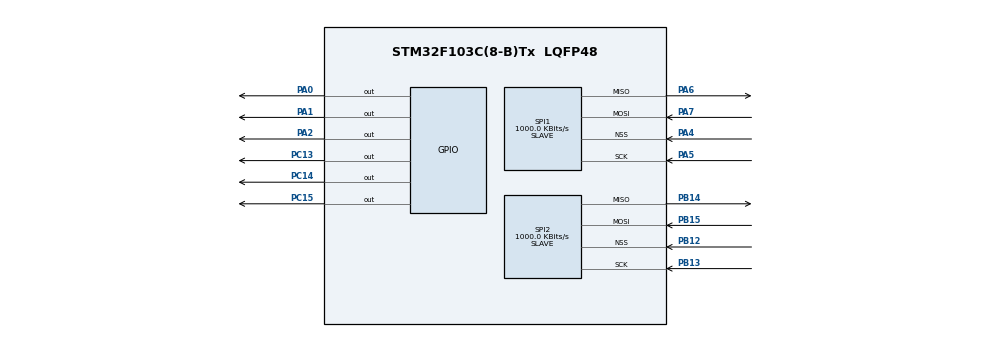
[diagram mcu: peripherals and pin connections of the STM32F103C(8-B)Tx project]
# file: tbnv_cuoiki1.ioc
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Mcu.Family=STM32F1
Mcu.Name=STM32F103C(8-B)Tx
Mcu.Package=LQFP48
NVIC.PriorityGroup=NVIC_PRIORITYGROUP_4
NVIC.SPI1_IRQn=true\:0\:0\:false\:false\:true\:true\:true
NVIC.SPI2_IRQn=true\:0\:0\:false\:false\:true\:true\:true
PA0-WKUP.Signal=GPIO_Output
PA1.Signal=GPIO_Output
PA13.Mode=Serial_Wire
PA13.Signal=SYS_JTMS-SWDIO
PA14.Mode=Serial_Wire
PA14.Signal=SYS_JTCK-SWCLK
PA2.Signal=GPIO_Output
PA4.Mode=NSS_Signal_Hard_Input
PA4.Signal=SPI1_NSS
PA5.Mode=Full_Duplex_Slave
PA5.Signal=SPI1_SCK
PA6.Mode=Full_Duplex_Slave
PA6.Signal=SPI1_MISO
PA7.Mode=Full_Duplex_Slave
PA7.Signal=SPI1_MOSI
PB12.Mode=NSS_Signal_Hard_Input
PB12.Signal=SPI2_NSS
PB13.Mode=Full_Duplex_Slave
PB13.Signal=SPI2_SCK
PB14.Mode=Full_Duplex_Slave
PB14.Signal=SPI2_MISO
PB15.Mode=Full_Duplex_Slave
PB15.Signal=SPI2_MOSI
PC13-TAMPER-RTC.Signal=GPIO_Output
PC14-OSC32_IN.Signal=GPIO_Output
PC15-OSC32_OUT.Signal=GPIO_Output
PD0-OSC_IN.Mode=HSE-External-Oscillator
PD0-OSC_IN.Signal=RCC_OSC_IN
PD1-OSC_OUT.Mode=HSE-External-Oscillator
PD1-OSC_OUT.Signal=RCC_OSC_OUT
ProjectManager.HeapSize=0x200
ProjectManager.StackSize=0x400
ProjectManager.TargetToolchain=MDK-ARM V5
RCC.APB1Freq_Value=8000000
RCC.APB2Freq_Value=8000000
SPI1.BaudRatePrescaler=SPI_BAUDRATEPRESCALER_8
SPI1.CalculateBaudRate=1000.0 KBits/s
SPI1.Direction=SPI_DIRECTION_2LINES
SPI1.Mode=SPI_MODE_SLAVE
SPI1.VirtualNSS=VM_NSSHARD
SPI1.VirtualType=VM_SLAVE
SPI2.BaudRatePrescaler=SPI_BAUDRATEPRESCALER_8
SPI2.CalculateBaudRate=1000.0 KBits/s
SPI2.Direction=SPI_DIRECTION_2LINES
SPI2.Mode=SPI_MODE_SLAVE
SPI2.VirtualNSS=VM_NSSHARD
SPI2.VirtualType=VM_SLAVE
TIM1.Period=499
TIM1.Prescaler=8000
VP_TIM1_VS_ClockSourceINT.Mode=Internal
board=custom

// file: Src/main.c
/* USER CODE BEGIN Header */
/**
  ******************************************************************************
  * @file           : main.c
  * @brief          : Main program body
  ******************************************************************************
  * @attention
  *
  * <h2><center>&copy; Copyright (c) 2022 STMicroelectronics.
  * All rights reserved.</center></h2>
  *
  * This software component is licensed by ST under BSD 3-Clause license,
  * the "License"; You may not use this file except in compliance with the
  * License. You may obtain a copy of the License at:
  *                        opensource.org/licenses/BSD-3-Clause
  *
  ******************************************************************************
  */
/* USER CODE END Header */

#include "main.h"
#include "stdio.h"
#include "cJSON.h"
#include "DHT.h"
#include "string.h"

SPI_HandleTypeDef hspi1;
SPI_HandleTypeDef hspi2;

TIM_HandleTypeDef htim1;

void SystemClock_Config(void);
static void MX_GPIO_Init(void);
static void MX_SPI1_Init(void);
static void MX_SPI2_Init(void);
static void MX_TIM1_Init(void);

/* USER CODE BEGIN 0 */

uint8_t ND = 8;
uint8_t DA = 8;
uint8_t TB1 = 0;
uint8_t TB2 = 0;
uint8_t TB3 = 0;
uint8_t TB4 = 0;
uint8_t TB5 = 0;

DHT_DataTypedef DHT11_Data;

uint8_t rx_data;

char rx_buffer[70];

uint8_t rx_data1;

char rx_buffer1[70];
unsigned int rx_index1 = 0;

unsigned int rx_index = 0;
cJSON *str_json;

void Read_dht11()
{
	DHT_GetData(&DHT11_Data);
	ND = DHT11_Data.Temperature;
	DA = DHT11_Data.Humidity;
}

void XulyJson(char *DataJson) // xu ly data nhan tu SPI
{
	str_json = cJSON_Parse(DataJson);
	if(!str_json)
	{

	}
	else
	{
		if(cJSON_GetObjectItem(str_json, "TB1"))
		{
			if(strstr( cJSON_GetObjectItem(str_json, "TB1")->valuestring,"0") != NULL )
			{
				HAL_GPIO_WritePin(GPIOC, GPIO_PIN_14, GPIO_PIN_SET);
				TB1 = 0;
			}
			else if(strstr( cJSON_GetObjectItem(str_json, "TB1")->valuestring,"1") != NULL )
			{
				HAL_GPIO_WritePin(GPIOC, GPIO_PIN_14, GPIO_PIN_RESET);
				TB1 = 1;
			}
		}
		if(cJSON_GetObjectItem(str_json, "TB2")){
			if(strstr( cJSON_GetObjectItem(str_json, "TB2")->valuestring,"0") != NULL )
			{
				HAL_GPIO_WritePin(GPIOC, GPIO_PIN_15, GPIO_PIN_SET);
				TB2 = 0;
			}
			else if(strstr( cJSON_GetObjectItem(str_json, "TB2")->valuestring,"1") != NULL )
			{
				HAL_GPIO_WritePin(GPIOC, GPIO_PIN_15, GPIO_PIN_RESET);
				TB2 = 1;
			}
		}

	}
	cJSON_Delete(str_json); // xСa m?ng json
}
void XulyJson1(char *DataJson) // xu ly data nhan tu SPI
{
	str_json = cJSON_Parse(DataJson);
	if(!str_json)
	{

	}
	else
	{
		if(cJSON_GetObjectItem(str_json, "TB3")){
			if(strstr( cJSON_GetObjectItem(str_json, "TB3")->valuestring,"0") != NULL )
			{
				HAL_GPIO_WritePin(GPIOA, GPIO_PIN_0, GPIO_PIN_SET);
				TB3 = 0;
			}
			else if(strstr( cJSON_GetObjectItem(str_json, "TB3")->valuestring,"1") != NULL )
			{
				HAL_GPIO_WritePin(GPIOA, GPIO_PIN_0, GPIO_PIN_RESET);
				TB3 = 1;
			}
		}
		if(cJSON_GetObjectItem(str_json, "TB4")){
			if(strstr( cJSON_GetObjectItem(str_json, "TB4")->valuestring,"0") != NULL )
			{
				HAL_GPIO_WritePin(GPIOA, GPIO_PIN_1, GPIO_PIN_SET);
				TB4 = 0;
			}
			else if(strstr( cJSON_GetObjectItem(str_json, "TB4")->valuestring,"1") != NULL )
			{
				HAL_GPIO_WritePin(GPIOA, GPIO_PIN_1, GPIO_PIN_RESET);
				TB4 = 1;
			}
		}
	}
	cJSON_Delete(str_json); // xСa m?ng json
}
void Received(void)
{
	if (rx_data != '\n')
	{
			rx_buffer[rx_index++] = rx_data;
	}
	else
	{
		XulyJson(rx_buffer);
		rx_index = 0;
		for (int i = 0; i < 70; i++)
		{
			rx_buffer[i] = 0;
		}
	}
}
void Received1(void)
{
	if (rx_data1 != '\n')
	{
			rx_buffer1[rx_index1++] = rx_data1;
	}
	else
	{
		XulyJson1(rx_buffer1);
		rx_index1 = 0;
		for (int i = 0; i < 70; i++)
		{
			rx_buffer1[i] = 0;
		}
	}
}
void load_data_SPI1(uint8_t ND, uint8_t DA, uint8_t tb1, uint8_t tb2)
{
	char JSON[50] = "";
	char Str_ND[10] = "";
	char Str_DA[10] = "";
	char Str_TB1[10] = "";
	char Str_TB2[10] = "";

	sprintf(Str_ND, "%d", ND);
	sprintf(Str_DA, "%d", DA);
	sprintf(Str_TB1, "%d", TB1);
	sprintf(Str_TB2, "%d", TB2);

	// {\"TB1\":"1"}
	strcat(JSON, "{\"ND\":\"");
	strcat(JSON, Str_ND); strcat(JSON, "\",");
	strcat(JSON, "\"DA\":\"");
	strcat(JSON, Str_DA); strcat(JSON, "\",");

	strcat(JSON, "\"TB1\":\"");
	strcat(JSON, Str_TB1); strcat(JSON, "\",");
	strcat(JSON, "\"TB2\":\"");
	strcat(JSON, Str_TB2); strcat(JSON, "\"}\n");

	for (int i = 0; i < sizeof JSON; i++){
		JSON[i] = HAL_SPI_Transmit(&hspi1, JSON, sizeof JSON, 100); //
	}

}
void load_data_SPI2(uint8_t tb3, uint8_t tb4)
{
	char JSON[50] = "";

	char Str_TB3[10] = "";
	char Str_TB4[10] = "";
	sprintf(Str_TB3, "%d", TB3);
	sprintf(Str_TB4, "%d", TB4);

	// {\"TB1\":"1"}

	strcat(JSON, "{\"TB3\":\"");
	strcat(JSON, Str_TB3); strcat(JSON, "\",");

	strcat(JSON, "\"TB4\":\"");
	strcat(JSON, Str_TB4); strcat(JSON, "\"}\n");
	for (int i = 0; i < sizeof JSON; i++){
		JSON[i] = HAL_SPI_Transmit(&hspi2, JSON, sizeof JSON, 100); //
	}
}

void HAL_SPI_RxCpltCallback(SPI_HandleTypeDef *hspi)
{
  UNUSED(hspi);
  if(hspi->Instance == SPI2)
	{
		Received();
		HAL_SPI_Receive_IT(&hspi2, &rx_data, 1); // cong SPI2, data, size
	}
	else if(hspi->Instance == SPI1)
	{
		Received1();
		HAL_SPI_Receive_IT(&hspi1, &rx_data1, 1); // cong SPI1, data, size
	}

}

void HAL_TIM_PeriodElapsedCallback(TIM_HandleTypeDef *htim) // call back interupt timer
{

	if(htim->Instance == htim1.Instance ){
		Read_dht11(); // timer 1 read DHT11.
		load_data_SPI1(ND, DA, TB1, TB2);
		load_data_SPI2(TB3, TB4);
	}
}
/* USER CODE END 0 */

int main(void)
{

  /* MCU Configuration--------------------------------------------------------*/

 HAL_Init();

  /* Configure the system clock */
  SystemClock_Config();

  /* Initialize all configured peripherals */
  MX_GPIO_Init();
  MX_SPI1_Init();
  MX_SPI2_Init();
  MX_TIM1_Init();
  /* USER CODE BEGIN 2 */

	HAL_GPIO_WritePin(GPIOC, GPIO_PIN_14, GPIO_PIN_SET);
	HAL_GPIO_WritePin(GPIOC, GPIO_PIN_15, GPIO_PIN_SET);
	HAL_GPIO_WritePin(GPIOA, GPIO_PIN_0, GPIO_PIN_SET);
	HAL_GPIO_WritePin(GPIOA, GPIO_PIN_1, GPIO_PIN_SET);
	HAL_GPIO_WritePin(GPIOA, GPIO_PIN_2, GPIO_PIN_SET);
	HAL_GPIO_WritePin(GPIOC, GPIO_PIN_13, GPIO_PIN_SET);

	HAL_SPI_Receive_IT(&hspi1, &rx_data1, 1); // cong SPI1, data, size
	HAL_SPI_Receive_IT(&hspi2, &rx_data, 1); // cong SPI, data, size1
  /* USER CODE END 2 */

  /* Infinite loop */
  /* USER CODE BEGIN WHILE */
  while (1)
  {

		HAL_GPIO_TogglePin(GPIOC, GPIO_PIN_13);
		HAL_Delay(500);
  }
  /* USER CODE END 3 */
}

void SystemClock_Config(void)
{
  RCC_OscInitTypeDef RCC_OscInitStruct = {0};
  RCC_ClkInitTypeDef RCC_ClkInitStruct = {0};

  /** Initializes the CPU, AHB and APB busses clocks
  */
  RCC_OscInitStruct.OscillatorType = RCC_OSCILLATORTYPE_HSI;
  RCC_OscInitStruct.HSIState = RCC_HSI_ON;
  RCC_OscInitStruct.HSICalibrationValue = RCC_HSICALIBRATION_DEFAULT;
  RCC_OscInitStruct.PLL.PLLState = RCC_PLL_NONE;
  if (HAL_RCC_OscConfig(&RCC_OscInitStruct) != HAL_OK)
  {
    Error_Handler();
  }
  /** Initializes the CPU, AHB and APB busses clocks
  */
  RCC_ClkInitStruct.ClockType = RCC_CLOCKTYPE_HCLK|RCC_CLOCKTYPE_SYSCLK
                              |RCC_CLOCKTYPE_PCLK1|RCC_CLOCKTYPE_PCLK2;
  RCC_ClkInitStruct.SYSCLKSource = RCC_SYSCLKSOURCE_HSI;
  RCC_ClkInitStruct.AHBCLKDivider = RCC_SYSCLK_DIV1;
  RCC_ClkInitStruct.APB1CLKDivider = RCC_HCLK_DIV1;
  RCC_ClkInitStruct.APB2CLKDivider = RCC_HCLK_DIV1;

  if (HAL_RCC_ClockConfig(&RCC_ClkInitStruct, FLASH_LATENCY_0) != HAL_OK)
  {
    Error_Handler();
  }
}

static void MX_SPI1_Init(void)
{

  /* SPI1 parameter configuration*/
  hspi1.Instance = SPI1;
  hspi1.Init.Mode = SPI_MODE_SLAVE;
  hspi1.Init.Direction = SPI_DIRECTION_2LINES;
  hspi1.Init.DataSize = SPI_DATASIZE_8BIT;
  hspi1.Init.CLKPolarity = SPI_POLARITY_LOW;
  hspi1.Init.CLKPhase = SPI_PHASE_1EDGE;
  hspi1.Init.NSS = SPI_NSS_HARD_INPUT;
  hspi1.Init.BaudRatePrescaler = SPI_BAUDRATEPRESCALER_8;
  hspi1.Init.FirstBit = SPI_FIRSTBIT_MSB;
  hspi1.Init.TIMode = SPI_TIMODE_DISABLE;
  hspi1.Init.CRCCalculation = SPI_CRCCALCULATION_DISABLE;
  hspi1.Init.CRCPolynomial = 10;
  if (HAL_SPI_Init(&hspi1) != HAL_OK)
  {
    Error_Handler();
  }

}

static void MX_SPI2_Init(void)
{

  /* SPI2 parameter configuration*/
  hspi2.Instance = SPI2;
  hspi2.Init.Mode = SPI_MODE_SLAVE;
  hspi2.Init.Direction = SPI_DIRECTION_2LINES;
  hspi2.Init.DataSize = SPI_DATASIZE_8BIT;
  hspi2.Init.CLKPolarity = SPI_POLARITY_LOW;
  hspi2.Init.CLKPhase = SPI_PHASE_1EDGE;
  hspi2.Init.NSS = SPI_NSS_HARD_INPUT;
  hspi2.Init.BaudRatePrescaler = SPI_BAUDRATEPRESCALER_8;
  hspi2.Init.FirstBit = SPI_FIRSTBIT_MSB;
  hspi2.Init.TIMode = SPI_TIMODE_DISABLE;
  hspi2.Init.CRCCalculation = SPI_CRCCALCULATION_DISABLE;
  hspi2.Init.CRCPolynomial = 10;
  if (HAL_SPI_Init(&hspi2) != HAL_OK)
  {
    Error_Handler();
  }

}

static void MX_TIM1_Init(void)
{

  TIM_ClockConfigTypeDef sClockSourceConfig = {0};
  TIM_MasterConfigTypeDef sMasterConfig = {0};

  htim1.Instance = TIM1;
  htim1.Init.Prescaler = 8000;
  htim1.Init.CounterMode = TIM_COUNTERMODE_UP;
  htim1.Init.Period = 499;
  htim1.Init.ClockDivision = TIM_CLOCKDIVISION_DIV1;
  htim1.Init.RepetitionCounter = 0;
  htim1.Init.AutoReloadPreload = TIM_AUTORELOAD_PRELOAD_DISABLE;
  if (HAL_TIM_Base_Init(&htim1) != HAL_OK)
  {
    Error_Handler();
  }
  sClockSourceConfig.ClockSource = TIM_CLOCKSOURCE_INTERNAL;
  if (HAL_TIM_ConfigClockSource(&htim1, &sClockSourceConfig) != HAL_OK)
  {
    Error_Handler();
  }
  sMasterConfig.MasterOutputTrigger = TIM_TRGO_RESET;
  sMasterConfig.MasterSlaveMode = TIM_MASTERSLAVEMODE_DISABLE;
  if (HAL_TIMEx_MasterConfigSynchronization(&htim1, &sMasterConfig) != HAL_OK)
  {
    Error_Handler();
  }

}

static void MX_GPIO_Init(void)
{
  GPIO_InitTypeDef GPIO_InitStruct = {0};

  /* GPIO Ports Clock Enable */
  __HAL_RCC_GPIOC_CLK_ENABLE();
  __HAL_RCC_GPIOD_CLK_ENABLE();
  __HAL_RCC_GPIOA_CLK_ENABLE();
  __HAL_RCC_GPIOB_CLK_ENABLE();

  /*Configure GPIO pin Output Level */
  HAL_GPIO_WritePin(GPIOC, GPIO_PIN_13|GPIO_PIN_14|GPIO_PIN_15, GPIO_PIN_RESET);

  /*Configure GPIO pin Output Level */
  HAL_GPIO_WritePin(GPIOA, GPIO_PIN_0|GPIO_PIN_1|GPIO_PIN_2, GPIO_PIN_RESET);

  /*Configure GPIO pins : PC13 PC14 PC15 */
  GPIO_InitStruct.Pin = GPIO_PIN_13|GPIO_PIN_14|GPIO_PIN_15;
  GPIO_InitStruct.Mode = GPIO_MODE_OUTPUT_PP;
  GPIO_InitStruct.Pull = GPIO_NOPULL;
  GPIO_InitStruct.Speed = GPIO_SPEED_FREQ_LOW;
  HAL_GPIO_Init(GPIOC, &GPIO_InitStruct);

  /*Configure GPIO pins : PA0 PA1 PA2 */
  GPIO_InitStruct.Pin = GPIO_PIN_0|GPIO_PIN_1|GPIO_PIN_2;
  GPIO_InitStruct.Mode = GPIO_MODE_OUTPUT_PP;
  GPIO_InitStruct.Pull = GPIO_NOPULL;
  GPIO_InitStruct.Speed = GPIO_SPEED_FREQ_LOW;
  HAL_GPIO_Init(GPIOA, &GPIO_InitStruct);

}

void Error_Handler(void)
{
}

/************************ (C) COPYRIGHT STMicroelectronics *****END OF FILE****/
